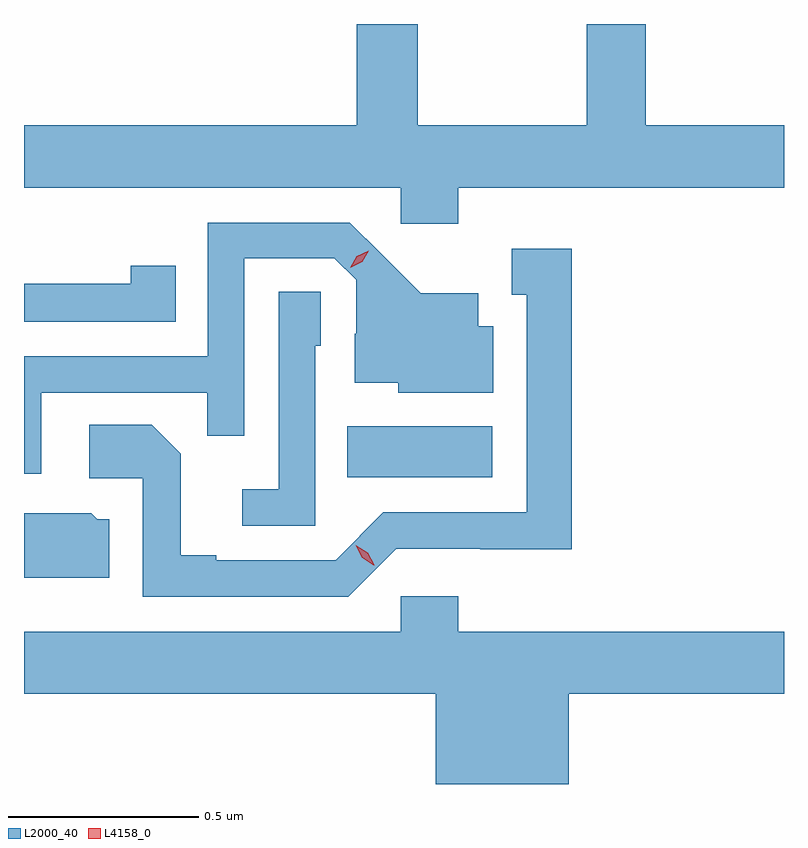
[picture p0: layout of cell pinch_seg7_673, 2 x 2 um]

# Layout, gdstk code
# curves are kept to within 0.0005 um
import gdstk
lib = gdstk.Library(unit=1e-6, precision=1e-09)
def R(c, l, rs):  # rectangles x0, y0, x1, y1
    for r in rs: c.add(gdstk.rectangle(r[:2], r[2:], *l))
def P(c, l, *ps):  # polygons
    for p in ps: c.add(gdstk.Polygon(p, *l))
L2000_40 = (2000, 40)
L4158_0 = (4158, 0)

pinch_seg7_673 = lib.new_cell('pinch_seg7_673')
R(pinch_seg7_673, L2000_40, [(115.834,1017.17,116.215,1017.304)])
P(pinch_seg7_673, L2000_40, [(116.126,1017.932),(116.983,1017.932),(116.983,1018.096),(116.619,1018.096),(116.619,1018.363),(116.464,1018.363),(116.464,1018.096),(116.019,1018.096),(116.019,1018.363),(115.859,1018.363),(115.859,1018.096),(114.983,1018.096),(114.983,1017.932),(115.974,1017.932),(115.974,1017.837),(116.126,1017.837)],
  [(115.029,1017.393),(115.465,1017.393),(115.465,1017.28),(115.563,1017.28),(115.563,1017.747),(115.8,1017.747),(115.857,1017.69),(115.857,1017.548),(115.853,1017.548),(115.853,1017.419),(115.968,1017.419),(115.968,1017.392),(116.218,1017.392),(116.218,1017.568),(116.179,1017.568),(116.179,1017.655),(116.027,1017.655),(115.84,1017.84),(115.467,1017.84),(115.467,1017.489),(114.983,1017.489),(114.983,1017.18),(115.029,1017.18)],
  [(115.962,1016.982),(116.184,1016.982),(116.184,1016.981),(116.425,1016.981),(116.425,1017.772),(116.267,1017.772),(116.267,1017.651),(116.306,1017.651),(116.306,1017.078),(115.929,1017.078),(115.803,1016.952),(115.489,1016.952),(115.489,1016.965),(115.395,1016.965),(115.395,1017.232),(115.319,1017.308),(115.155,1017.308),(115.155,1017.168),(115.296,1017.168),(115.296,1016.856),(115.836,1016.856)],
  [(115.382,1017.727),(115.264,1017.727),(115.264,1017.68),(114.983,1017.68),(114.983,1017.579),(115.382,1017.579)],
  [(115.749,1017.516),(115.764,1017.516),(115.764,1017.659),(115.653,1017.659),(115.653,1017.139),(115.557,1017.139),(115.557,1017.042),(115.749,1017.042)],
  [(115.207,1017.06),(115.176,1017.06),(115.16,1017.076),(115.026,1017.076),(115.026,1017.075),(114.983,1017.075),(114.983,1016.906),(115.207,1016.906)],
  [(116.416,1016.6),(116.983,1016.6),(116.983,1016.764),(116.126,1016.764),(116.126,1016.857),(115.974,1016.857),(115.974,1016.764),(114.983,1016.764),(114.983,1016.6),(116.066,1016.6),(116.066,1016.363),(116.416,1016.363)])
P(pinch_seg7_673, L4158_0, [(115.904,1016.939),(115.873,1016.958),(115.856,1016.991),(115.856,1016.991),(115.856,1016.991),(115.887,1016.972),(115.905,1016.94),(115.905,1016.939)],
  [(115.842,1017.722),(115.842,1017.722),(115.859,1017.752),(115.89,1017.766),(115.89,1017.766),(115.89,1017.766),(115.873,1017.737),(115.842,1017.722)])

lib.write_gds('pinch_seg7_673.gds')
